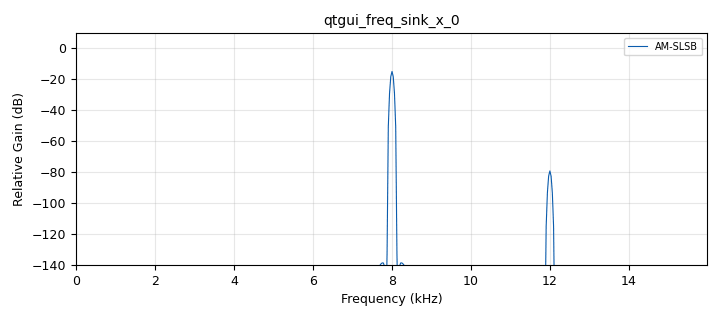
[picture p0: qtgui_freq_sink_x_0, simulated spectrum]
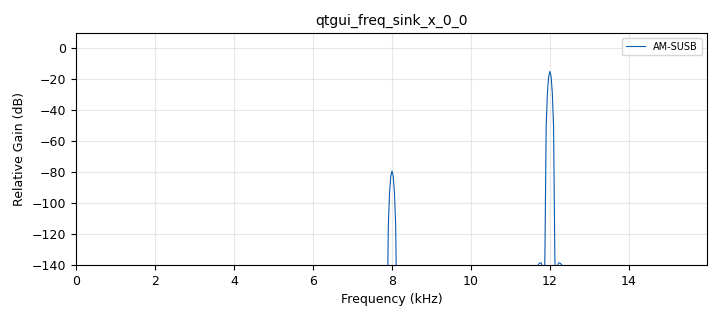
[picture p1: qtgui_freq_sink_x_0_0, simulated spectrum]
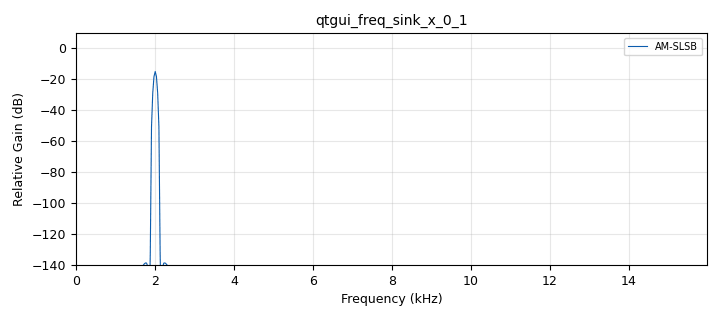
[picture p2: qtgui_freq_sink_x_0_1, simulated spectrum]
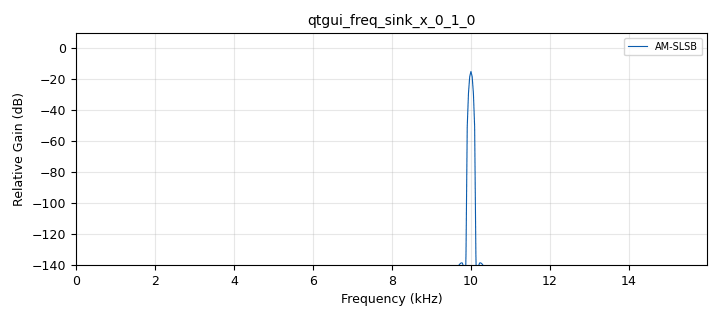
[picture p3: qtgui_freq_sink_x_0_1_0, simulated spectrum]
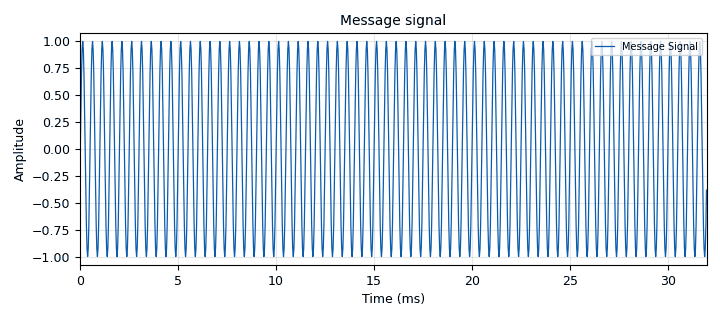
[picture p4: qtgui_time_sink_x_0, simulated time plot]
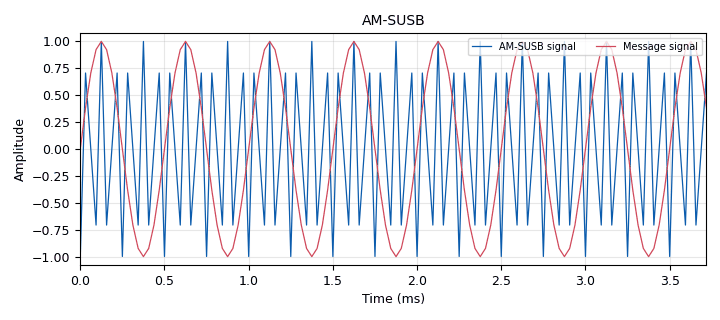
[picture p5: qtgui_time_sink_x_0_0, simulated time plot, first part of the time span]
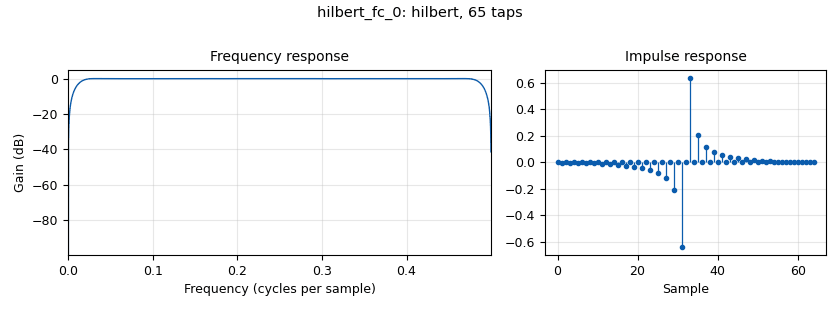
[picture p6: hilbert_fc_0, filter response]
options:
  parameters:
    generate_options: qt_gui
    id: top_block
    output_language: python
    title: Not titled yet
  states: {}

blocks:
- name: samp_rate
  id: variable
  parameters:
    value: '32000'
  states: {}
- name: analog_sig_source_x_0
  id: analog_sig_source_x
  parameters:
    amp: '1'
    comment: Information signal
    freq: '2000'
    offset: '0'
    phase: '0'
    samp_rate: samp_rate
    type: float
    waveform: analog.GR_SIN_WAVE
  states: {}
- name: analog_sig_source_x_0_0_0
  id: analog_sig_source_x
  parameters:
    amp: '1'
    comment: Carrier signal with phase shift
    freq: '10000'
    offset: '0'
    phase: '0'
    samp_rate: samp_rate
    type: float
    waveform: analog.GR_SIN_WAVE
  states: {}
- name: blocks_add_xx_0
  id: blocks_add_xx
  parameters:
    type: float
  states: {}
- name: blocks_complex_to_float_0
  id: blocks_complex_to_float
  parameters: {}
  states: {}
- name: blocks_complex_to_float_0_0
  id: blocks_complex_to_float
  parameters: {}
  states: {}
- name: blocks_multiply_xx_0
  id: blocks_multiply_xx
  parameters:
    type: float
  states: {}
- name: blocks_multiply_xx_0_0
  id: blocks_multiply_xx
  parameters:
    type: float
  states: {}
- name: blocks_sub_xx_0
  id: blocks_sub_xx
  parameters:
    type: float
  states: {}
- name: blocks_throttle_0
  id: blocks_throttle
  parameters:
    samples_per_second: samp_rate
    type: float
  states: {}
- name: blocks_throttle_1
  id: blocks_throttle
  parameters:
    samples_per_second: samp_rate
    type: float
  states: {}
- name: hilbert_fc_0
  id: hilbert_fc
  parameters:
    num_taps: '65'
    win: firdes.WIN_HAMMING
  states: {}
- name: hilbert_fc_0_0
  id: hilbert_fc
  parameters:
    num_taps: '65'
    win: firdes.WIN_HAMMING
  states: {}
- name: qtgui_freq_sink_x_0
  id: qtgui_freq_sink_x
  parameters:
    bw: samp_rate
    color1: '"dark green"'
    fc: '0'
    fftsize: '1024'
    freqhalf: 'False'
    gui_hint: '[5,0]'
    label1: AM-SLSB
    type: float
    wintype: firdes.WIN_BLACKMAN_hARRIS
  states: {}
- name: qtgui_freq_sink_x_0_0
  id: qtgui_freq_sink_x
  parameters:
    bw: samp_rate
    color1: '"dark blue"'
    fc: '0'
    fftsize: '1024'
    freqhalf: 'False'
    gui_hint: '[7,0]'
    label1: AM-SUSB
    type: float
    wintype: firdes.WIN_BLACKMAN_hARRIS
  states: {}
- name: qtgui_freq_sink_x_0_1
  id: qtgui_freq_sink_x
  parameters:
    bw: samp_rate
    color1: '"dark green"'
    fc: '0'
    fftsize: '1024'
    freqhalf: 'False'
    gui_hint: '[1,0]'
    label1: AM-SLSB
    type: float
    wintype: firdes.WIN_BLACKMAN_hARRIS
  states: {}
- name: qtgui_freq_sink_x_0_1_0
  id: qtgui_freq_sink_x
  parameters:
    bw: samp_rate
    color1: '"dark green"'
    fc: '0'
    fftsize: '1024'
    freqhalf: 'False'
    gui_hint: '[3,0]'
    label1: AM-SLSB
    type: float
    wintype: firdes.WIN_BLACKMAN_hARRIS
  states: {}
- name: qtgui_time_sink_x_0
  id: qtgui_time_sink_x
  parameters:
    gui_hint: '[0,0]'
    label1: Message Signal
    name: Message signal
    size: '1024'
    srate: samp_rate
    type: float
  states: {}
- name: qtgui_time_sink_x_0_0
  id: qtgui_time_sink_x
  parameters:
    color1: cyan
    color2: blue
    entags: 'False'
    gui_hint: '[6,0]'
    label1: AM-SUSB signal
    label2: Message signal
    name: AM-SUSB
    nconnections: '2'
    size: '1024'
    srate: samp_rate
    style2: '2'
    type: float
  states: {}
- name: qtgui_time_sink_x_0_0_0
  id: qtgui_time_sink_x
  parameters:
    color1: green
    color2: blue
    gui_hint: '[4,0]'
    label1: AM-SLSB signal
    label2: Message signal
    name: AM-SLSB
    nconnections: '2'
    size: '1024'
    srate: samp_rate
    style2: '2'
    type: float
  states: {}
- name: qtgui_time_sink_x_0_1
  id: qtgui_time_sink_x
  parameters:
    color1: red
    entags: 'False'
    gui_hint: '[2,0]'
    label1: Carrier signal
    name: Carrier signal
    size: '1024'
    srate: samp_rate
    type: float
  states: {}

connections:
- [analog_sig_source_x_0, '0', blocks_throttle_1, '0']
- [analog_sig_source_x_0_0_0, '0', blocks_throttle_0, '0']
- [blocks_add_xx_0, '0', qtgui_freq_sink_x_0, '0']
- [blocks_add_xx_0, '0', qtgui_time_sink_x_0_0_0, '0']
- [blocks_complex_to_float_0, '0', blocks_multiply_xx_0, '0']
- [blocks_complex_to_float_0, '1', blocks_multiply_xx_0_0, '0']
- [blocks_complex_to_float_0_0, '0', blocks_multiply_xx_0, '1']
- [blocks_complex_to_float_0_0, '1', blocks_multiply_xx_0_0, '1']
- [blocks_multiply_xx_0, '0', blocks_add_xx_0, '0']
- [blocks_multiply_xx_0, '0', blocks_sub_xx_0, '0']
- [blocks_multiply_xx_0_0, '0', blocks_add_xx_0, '1']
- [blocks_multiply_xx_0_0, '0', blocks_sub_xx_0, '1']
- [blocks_sub_xx_0, '0', qtgui_freq_sink_x_0_0, '0']
- [blocks_sub_xx_0, '0', qtgui_time_sink_x_0_0, '0']
- [blocks_throttle_0, '0', hilbert_fc_0_0, '0']
- [blocks_throttle_0, '0', qtgui_freq_sink_x_0_1_0, '0']
- [blocks_throttle_0, '0', qtgui_time_sink_x_0_1, '0']
- [blocks_throttle_1, '0', hilbert_fc_0, '0']
- [blocks_throttle_1, '0', qtgui_freq_sink_x_0_1, '0']
- [blocks_throttle_1, '0', qtgui_time_sink_x_0, '0']
- [blocks_throttle_1, '0', qtgui_time_sink_x_0_0, '1']
- [blocks_throttle_1, '0', qtgui_time_sink_x_0_0_0, '1']
- [hilbert_fc_0, '0', blocks_complex_to_float_0, '0']
- [hilbert_fc_0_0, '0', blocks_complex_to_float_0_0, '0']

metadata:
  file_format: 1
